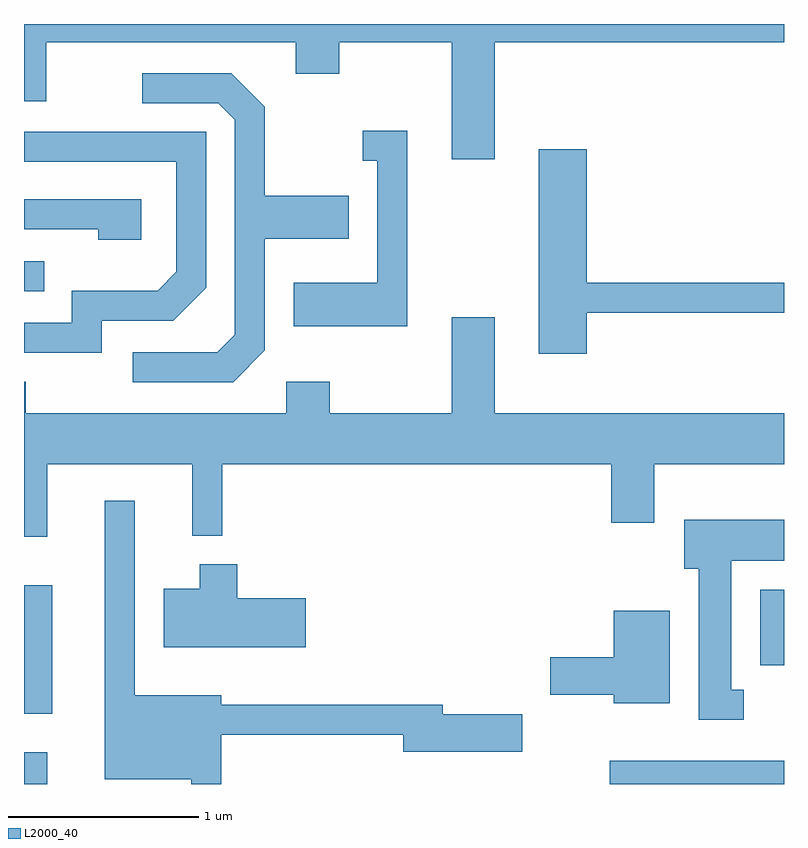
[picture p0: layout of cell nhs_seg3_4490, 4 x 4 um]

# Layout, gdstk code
import gdstk
lib = gdstk.Library(unit=1e-6, precision=1e-09)
def R(c, l, rs):  # rectangles x0, y0, x1, y1
    for r in rs: c.add(gdstk.rectangle(r[:2], r[2:], *l))
def P(c, l, *ps):  # polygons
    for p in ps: c.add(gdstk.Polygon(p, *l))
L2000_40 = (2000, 40)

nhs_seg3_4490 = lib.new_cell('nhs_seg3_4490')
R(nhs_seg3_4490, L2000_40, [(317.611,1119.892,317.734,1120.058), (320.693,1119.892,321.611,1120.014), (317.611,1120.261,317.759,1120.939), (321.486,1120.516,321.611,1120.914), (317.611,1122.486,317.718,1122.644)])
P(nhs_seg3_4490, L2000_40, [(320.089,1123.796),(321.611,1123.796),(321.611,1123.892),(317.611,1123.892),(317.611,1123.486),(317.729,1123.486),(317.729,1123.796),(319.041,1123.796),(319.041,1123.631),(319.269,1123.631),(319.269,1123.796),(319.861,1123.796),(319.861,1123.181),(320.089,1123.181)],
  [(318.718,1122.013),(318.879,1122.174),(318.879,1122.761),(319.319,1122.761),(319.319,1122.989),(318.879,1122.989),(318.879,1123.457),(318.702,1123.634),(318.233,1123.634),(318.233,1123.476),(318.634,1123.476),(318.721,1123.389),(318.721,1122.257),(318.629,1122.164),(318.183,1122.164),(318.183,1122.006),(318.712,1122.006)],
  [(319.629,1123.329),(319.393,1123.329),(319.393,1123.171),(319.471,1123.171),(319.471,1122.529),(319.031,1122.529),(319.031,1122.301),(319.629,1122.301)],
  [(318.019,1122.331),(318.397,1122.331),(318.569,1122.504),(318.569,1123.324),(317.611,1123.324),(317.611,1123.166),(318.411,1123.166),(318.411,1122.587),(318.314,1122.489),(317.861,1122.489),(317.861,1122.319),(317.611,1122.319),(317.611,1122.161),(318.019,1122.161)],
  [(320.574,1122.371),(321.611,1122.371),(321.611,1122.529),(320.574,1122.529),(320.574,1123.234),(320.321,1123.234),(320.321,1122.156),(320.574,1122.156)],
  [(318.229,1122.969),(317.611,1122.969),(317.611,1122.811),(318.001,1122.811),(318.001,1122.756),(318.229,1122.756)],
  [(317.734,1121.576),(318.496,1121.576),(318.496,1121.198),(318.654,1121.198),(318.654,1121.576),(320.701,1121.576),(320.701,1121.266),(320.929,1121.266),(320.929,1121.576),(321.611,1121.576),(321.611,1121.844),(320.089,1121.844),(320.089,1122.349),(319.861,1122.349),(319.861,1121.844),(319.219,1121.844),(319.219,1122.009),(318.991,1122.009),(318.991,1121.844),(317.619,1121.844),(317.619,1122.009),(317.611,1122.009),(317.611,1121.193),(317.734,1121.193)],
  [(318.649,1120.151),(319.606,1120.151),(319.606,1120.061),(320.234,1120.061),(320.234,1120.259),(319.814,1120.259),(319.814,1120.309),(318.649,1120.309),(318.649,1120.359),(318.194,1120.359),(318.194,1121.383),(318.036,1121.383),(318.036,1119.916),(318.491,1119.916),(318.491,1119.892),(318.649,1119.892)],
  [(321.398,1120.389),(321.334,1120.389),(321.334,1121.066),(321.611,1121.066),(321.611,1121.284),(321.086,1121.284),(321.086,1121.026),(321.161,1121.026),(321.161,1120.231),(321.398,1120.231)],
  [(319.094,1120.869),(318.734,1120.869),(318.734,1121.049),(318.536,1121.049),(318.536,1120.919),(318.346,1120.919),(318.346,1120.611),(319.094,1120.611)],
  [(321.009,1120.804),(320.716,1120.804),(320.716,1120.559),(320.381,1120.559),(320.381,1120.361),(320.716,1120.361),(320.716,1120.316),(321.009,1120.316)])

lib.write_gds('nhs_seg3_4490.gds')
